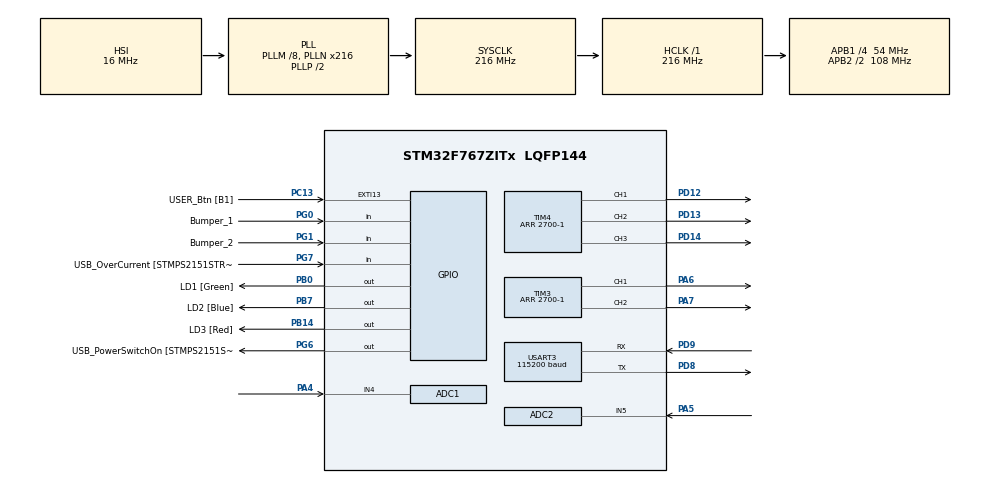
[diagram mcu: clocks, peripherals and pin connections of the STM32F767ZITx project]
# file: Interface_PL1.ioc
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ADC1.Channel-2\#ChannelRegularConversion=ADC_CHANNEL_4
ADC1.NbrOfConversionFlag=1
ADC1.Rank-2\#ChannelRegularConversion=1
ADC1.SamplingTime-2\#ChannelRegularConversion=ADC_SAMPLETIME_3CYCLES
ADC1.master=1
ADC2.Channel-1\#ChannelRegularConversion=ADC_CHANNEL_5
ADC2.NbrOfConversionFlag=1
ADC2.Rank-1\#ChannelRegularConversion=1
ADC2.SamplingTime-1\#ChannelRegularConversion=ADC_SAMPLETIME_3CYCLES
Mcu.Family=STM32F7
Mcu.Name=STM32F767ZITx
Mcu.Package=LQFP144
NVIC.ADC_IRQn=true\:0\:0\:false\:false\:true\:true\:true
NVIC.EXTI15_10_IRQn=true\:0\:0\:false\:false\:true\:true\:true
NVIC.PriorityGroup=NVIC_PRIORITYGROUP_4
NVIC.TIM7_IRQn=true\:0\:0\:false\:false\:true\:true\:true
NVIC.USART3_IRQn=true\:0\:0\:false\:false\:true\:true\:true
PA13.Mode=Serial_Wire
PA13.Signal=SYS_JTMS-SWDIO
PA14.Mode=Serial_Wire
PA14.Signal=SYS_JTCK-SWCLK
PA4.Signal=ADCx_IN4
PA5.Signal=ADCx_IN5
PA6.Signal=S_TIM3_CH1
PA7.Signal=S_TIM3_CH2
PB0.GPIO_Label=LD1 [Green]
PB0.Signal=GPIO_Output
PB14.GPIO_Label=LD3 [Red]
PB14.Signal=GPIO_Output
PB7.GPIO_Label=LD2 [Blue]
PB7.Signal=GPIO_Output
PC13.GPIO_Label=USER_Btn [B1]
PC13.Signal=GPXTI13
PD12.Signal=S_TIM4_CH1
PD13.Signal=S_TIM4_CH2
PD14.Signal=S_TIM4_CH3
PD8.Mode=Asynchronous
PD8.Signal=USART3_TX
PD9.Mode=Asynchronous
PD9.Signal=USART3_RX
PE8.Signal=TIM1_CH1N
PG0.GPIO_Label=Bumper_1
PG0.Signal=GPIO_Input
PG1.GPIO_Label=Bumper_2
PG1.Signal=GPIO_Input
PG6.GPIO_Label=USB_PowerSwitchOn [STMPS2151STR_EN]
PG6.Signal=GPIO_Output
PG7.GPIO_Label=USB_OverCurrent [STMPS2151STR_FAULT]
PG7.Signal=GPIO_Input
ProjectManager.HeapSize=0x200
ProjectManager.StackSize=0x400
ProjectManager.TargetToolchain=MDK-ARM V5
RCC.48MHZClocksFreq_Value=24000000
RCC.AHBFreq_Value=216000000
RCC.APB1CLKDivider=RCC_HCLK_DIV4
RCC.APB1Freq_Value=54000000
RCC.APB1TimFreq_Value=108000000
RCC.APB2CLKDivider=RCC_HCLK_DIV2
RCC.APB2Freq_Value=108000000
RCC.APB2TimFreq_Value=216000000
RCC.CortexFreq_Value=216000000
RCC.HCLKFreq_Value=216000000
RCC.HSE_VALUE=16000000
RCC.HSI_VALUE=16000000
RCC.LSE_VALUE=32768
RCC.PLLM=8
RCC.PLLMUL=RCC_PLL_MUL9
RCC.PLLN=216
RCC.PRESCALERUSB=RCC_USBCLKSOURCE_PLL_DIV1_5
RCC.SYSCLKFreq_VALUE=216000000
RCC.SYSCLKSource=RCC_SYSCLKSOURCE_PLLCLK
RCC.SYSCLKSourceVirtual=RCC_SYSCLKSOURCE_PLLCLK
RCC.USBFreq_Value=216000000
RCC.VCOOutputFreq_Value=432000000
SH.ADCx_IN4.0=ADC1_IN4,IN4
SH.ADCx_IN5.0=ADC2_IN5,IN5
SH.S_TIM3_CH1.0=TIM3_CH1,PWM Generation1 CH1
SH.S_TIM3_CH2.0=TIM3_CH2,PWM Generation2 CH2
SH.S_TIM4_CH1.0=TIM4_CH1,PWM Generation1 CH1
SH.S_TIM4_CH2.0=TIM4_CH2,PWM Generation2 CH2
SH.S_TIM4_CH3.0=TIM4_CH3,PWM Generation3 CH3
TIM3.Channel-PWM\ Generation1\ CH1=TIM_CHANNEL_1
TIM3.Channel-PWM\ Generation2\ CH2=TIM_CHANNEL_2
TIM3.CounterMode=TIM_COUNTERMODE_CENTERALIGNED1
TIM3.OCPolarity_2=TIM_OCPOLARITY_LOW
TIM3.Period=2700-1
TIM4.Channel-PWM\ Generation1\ CH1=TIM_CHANNEL_1
TIM4.Channel-PWM\ Generation2\ CH2=TIM_CHANNEL_2
TIM4.Channel-PWM\ Generation3\ CH3=TIM_CHANNEL_3
TIM4.CounterMode=TIM_COUNTERMODE_CENTERALIGNED1
TIM4.OCMode_PWM-PWM\ Generation1\ CH1=TIM_OCMODE_PWM1
TIM4.OCMode_PWM-PWM\ Generation2\ CH2=TIM_OCMODE_PWM1
TIM4.OCMode_PWM-PWM\ Generation3\ CH3=TIM_OCMODE_PWM1
TIM4.OCPolarity_2=TIM_OCPOLARITY_LOW
TIM4.Period=2700-1
TIM7.Period=21600-1
TIM7.Prescaler=0
TIM7.TIM_MasterOutputTrigger=TIM_TRGO_UPDATE
USART3.BaudRate=115200
USART3.OneBitSampling=UART_ONE_BIT_SAMPLE_DISABLE
USART3.VirtualMode-Asynchronous=VM_ASYNC
VP_TIM3_VS_ClockSourceINT.Mode=Internal
VP_TIM4_VS_ClockSourceINT.Mode=Internal
VP_TIM7_VS_ClockSourceINT.Mode=Enable_Timer
board=NUCLEO-F767ZI

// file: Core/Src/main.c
/* USER CODE BEGIN Header */
/**
  ******************************************************************************
  * @file           : main.c
  * @brief          : Main program body
  ******************************************************************************
  * @attention
  *
  * <h2><center>&copy; Copyright (c) 2019 STMicroelectronics.
  * All rights reserved.</center></h2>
  *
  * This software component is licensed by ST under BSD 3-Clause license,
  * the "License"; You may not use this file except in compliance with the
  * License. You may obtain a copy of the License at:
  *                        opensource.org/licenses/BSD-3-Clause
  *
  ******************************************************************************
  */
/* USER CODE END Header */
#include "main.h"
#include "adc.h"
#include "tim.h"
#include "usart.h"
#include "gpio.h"

/* USER CODE BEGIN Includes */
#include "stdio.h"
#include "string.h"
#include "math.h"
#include "commands.h"
#include "dutyinterleaved.h"
/* USER CODE END Includes */

/* USER CODE BEGIN PD */
#define PI 3.141592
#define SIN_RES 100
/* USER CODE END PD */

void SystemClock_Config(void);

int main(void)
{
  /* USER CODE BEGIN 1 */
//		uint32_t counter = 0;
  /* USER CODE END 1 */

  /* MCU Configuration--------------------------------------------------------*/

  /* Reset of all peripherals, Initializes the Flash interface and the Systick. */
  HAL_Init();

  /* Configure the system clock */
  SystemClock_Config();

  /* Initialize all configured peripherals */
  MX_GPIO_Init();
  MX_USART3_UART_Init();
  MX_ADC1_Init();
  MX_TIM7_Init();
  MX_ADC2_Init();
  MX_TIM4_Init();
  MX_TIM3_Init();
  /* USER CODE BEGIN 2 */

	init_UART3();

	HAL_ADC_Start_IT(&hadc1);	//reativar a interrupçao do ADC

	HAL_ADC_Start_IT(&hadc2); //reativar a interrupçao do ADC

//		EPLL_calc();
//		harm = epll.voltageOUT - epll.voltageIN;
//
//		//TIM1->CCR1 = (uint16_t)((((harm/54.54)+3.3/2)*(4095/3.3))*TIM_RATIO2);
//
//		if(epll.voltageOUT>=0)
//		{	TIM1->CCR1 = (uint16_t)((epll.voltageOUT/50)*2159);			//90 é o valor maximo (+/-) //2159 é o valor maximo de pwm
//			TIM1->CCR2 = 0;
//		}
//		else
//		{
//			TIM1->CCR1 = 0;
//			TIM1->CCR2 = -(int16_t)((epll.voltageOUT/50)*2159);			//90 é o valor maximo (+/-) //2159 é o valor maximo de pwm
//
//		}

			//inicializaçao timer3, Responsavel pelo PWM
		HAL_TIM_PWM_Start(&htim3, TIM_CHANNEL_1);
		HAL_TIM_PWM_Start(&htim3, TIM_CHANNEL_2);
		//inicializaçao do DAC e timer7
			HAL_TIM_Base_Start(&htim7);

		//inicializaçao timer4, Responsavel pelo PWM
		HAL_TIM_PWM_Start(&htim4, TIM_CHANNEL_1);
		HAL_TIM_PWM_Start(&htim4, TIM_CHANNEL_2);
		HAL_TIM_PWM_Start(&htim4, TIM_CHANNEL_3);

		//TIM1->CCR1 = 0;
		//____________ Codigo de Experimentaçao _____________________________

		//____________ Codigo de Experimentaçao FIM _____________________________

  /* USER CODE END 2 */

  /* Infinite loop */
  /* USER CODE BEGIN WHILE */
  while (1)
  {

		//verifica sempre se recebeu carater e responde (o check é feito dentro da funçao)
		Rx_char_parsing();

		if(ADC1Flag == 1 && ADC2Flag == 1)
		{
			ADC1Flag = 0;
			ADC2Flag = 0;
			duty_cycle_buck_calc();
			printf("duty = %f; ADC1 = %d, ADC2 = %d\r\n",duty, ADC1_chn4_value, ADC2_chn5_value);
			//printf("ADC1 = %d; Sensor1 = %f A\r\n", ADC1_chn4_value, sensorI_1);
			//printf("ADC2 = %d; Sensor2 = %f A\r\n", ADC2_chn5_value, sensorI_2);
//			TIM4->CCR1 = (uint16_t)(duty*10800);
			TIM4->CCR1 = 0.25*2700;
			TIM4->CCR2 = 2700-(0.25*2700);
//			TIM3->CCR1 = 2700;
//			TIM3->CCR2 = 0;
//			if(TIM4->CNT == 65535)
//			{
//				TIM4->CCR3 = (uint16_t)(duty*10800);
//			}
		}

    /* USER CODE END WHILE */

    /* USER CODE BEGIN 3 */
	}//fim do while(1)

  /* USER CODE END 3 */
}

void SystemClock_Config(void)
{
  RCC_OscInitTypeDef RCC_OscInitStruct = {0};
  RCC_ClkInitTypeDef RCC_ClkInitStruct = {0};
  RCC_PeriphCLKInitTypeDef PeriphClkInitStruct = {0};

  /** Configure the main internal regulator output voltage
  */
  __HAL_RCC_PWR_CLK_ENABLE();
  __HAL_PWR_VOLTAGESCALING_CONFIG(PWR_REGULATOR_VOLTAGE_SCALE1);
  /** Initializes the RCC Oscillators according to the specified parameters
  * in the RCC_OscInitTypeDef structure.
  */
  RCC_OscInitStruct.OscillatorType = RCC_OSCILLATORTYPE_HSI;
  RCC_OscInitStruct.HSIState = RCC_HSI_ON;
  RCC_OscInitStruct.HSICalibrationValue = RCC_HSICALIBRATION_DEFAULT;
  RCC_OscInitStruct.PLL.PLLState = RCC_PLL_ON;
  RCC_OscInitStruct.PLL.PLLSource = RCC_PLLSOURCE_HSI;
  RCC_OscInitStruct.PLL.PLLM = 8;
  RCC_OscInitStruct.PLL.PLLN = 216;
  RCC_OscInitStruct.PLL.PLLP = RCC_PLLP_DIV2;
  RCC_OscInitStruct.PLL.PLLQ = 2;
  if (HAL_RCC_OscConfig(&RCC_OscInitStruct) != HAL_OK)
  {
    Error_Handler();
  }
  /** Activate the Over-Drive mode
  */
  if (HAL_PWREx_EnableOverDrive() != HAL_OK)
  {
    Error_Handler();
  }
  /** Initializes the CPU, AHB and APB buses clocks
  */
  RCC_ClkInitStruct.ClockType = RCC_CLOCKTYPE_HCLK|RCC_CLOCKTYPE_SYSCLK
                              |RCC_CLOCKTYPE_PCLK1|RCC_CLOCKTYPE_PCLK2;
  RCC_ClkInitStruct.SYSCLKSource = RCC_SYSCLKSOURCE_PLLCLK;
  RCC_ClkInitStruct.AHBCLKDivider = RCC_SYSCLK_DIV1;
  RCC_ClkInitStruct.APB1CLKDivider = RCC_HCLK_DIV4;
  RCC_ClkInitStruct.APB2CLKDivider = RCC_HCLK_DIV2;

  if (HAL_RCC_ClockConfig(&RCC_ClkInitStruct, FLASH_LATENCY_7) != HAL_OK)
  {
    Error_Handler();
  }
  PeriphClkInitStruct.PeriphClockSelection = RCC_PERIPHCLK_USART3;
  PeriphClkInitStruct.Usart3ClockSelection = RCC_USART3CLKSOURCE_PCLK1;
  if (HAL_RCCEx_PeriphCLKConfig(&PeriphClkInitStruct) != HAL_OK)
  {
    Error_Handler();
  }
}

void Error_Handler(void)
{
}

/************************ (C) COPYRIGHT STMicroelectronics *****END OF FILE****/
